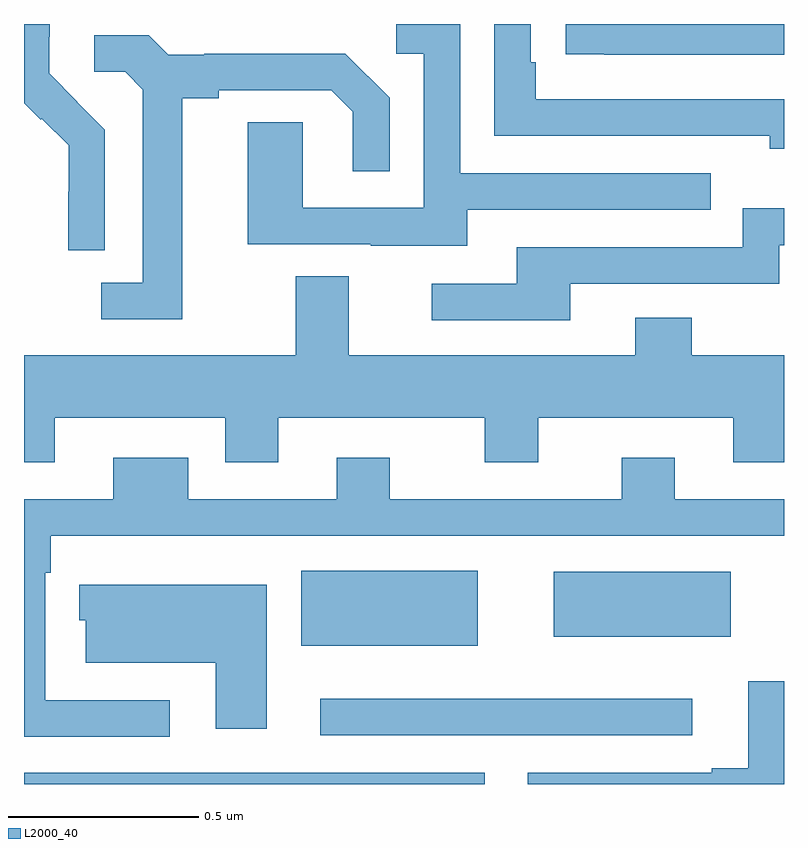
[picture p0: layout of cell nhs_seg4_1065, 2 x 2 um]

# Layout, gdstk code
import gdstk
lib = gdstk.Library(unit=1e-6, precision=1e-09)
def R(c, l, rs):  # rectangles x0, y0, x1, y1
    for r in rs: c.add(gdstk.rectangle(r[:2], r[2:], *l))
def P(c, l, *ps):  # polygons
    for p in ps: c.add(gdstk.Polygon(p, *l))
L2000_40 = (2000, 40)

nhs_seg4_1065 = lib.new_cell('nhs_seg4_1065')
R(nhs_seg4_1065, L2000_40, [(124,751.9,125.212,751.929), (124.779,752.028,125.758,752.125), (124.73,752.264,125.194,752.461), (125.394,752.288,125.86,752.458)])
P(nhs_seg4_1065, L2000_40, [(126,753.702),(125.347,753.702),(125.347,753.799),(125.334,753.799),(125.334,753.9),(125.238,753.9),(125.238,753.606),(125.963,753.606),(125.963,753.572),(126,753.572)],
  [(124.212,753.622),(124.139,753.695),(124.14,753.696),(124.066,753.77),(124.066,753.867),(124.068,753.867),(124.068,753.9),(124,753.9),(124,753.692),(124.044,753.648),(124.047,753.651),(124.118,753.581),(124.118,753.458),(124.116,753.458),(124.116,753.304),(124.212,753.304)],
  [(126,753.9),(125.425,753.9),(125.425,753.82),(125.527,753.82),(125.527,753.819),(126,753.819)],
  [(125.167,753.411),(125.807,753.411),(125.807,753.507),(125.148,753.507),(125.148,753.9),(124.98,753.9),(124.98,753.822),(125.052,753.822),(125.052,753.417),(124.734,753.417),(124.734,753.641),(124.589,753.641),(124.589,753.321),(124.913,753.321),(124.913,753.317),(125.167,753.317)],
  [(124.417,753.704),(124.513,753.704),(124.513,753.726),(124.808,753.726),(124.865,753.669),(124.865,753.513),(124.962,753.513),(124.962,753.706),(124.846,753.822),(124.474,753.822),(124.474,753.819),(124.38,753.819),(124.328,753.871),(124.185,753.871),(124.185,753.774),(124.266,753.774),(124.313,753.727),(124.313,753.219),(124.203,753.219),(124.203,753.123),(124.417,753.123)],
  [(125.437,753.216),(125.988,753.216),(125.988,753.318),(126,753.318),(126,753.415),(125.892,753.415),(125.892,753.312),(125.297,753.312),(125.297,753.216),(125.073,753.216),(125.073,753.12),(125.437,753.12)],
  [(124.081,752.864),(124.529,752.864),(124.529,752.747),(124.669,752.747),(124.669,752.864),(125.213,752.864),(125.213,752.747),(125.353,752.747),(125.353,752.864),(125.867,752.864),(125.867,752.747),(126,752.747),(126,753.028),(125.757,753.028),(125.757,753.127),(125.609,753.127),(125.609,753.028),(124.855,753.028),(124.855,753.236),(124.715,753.236),(124.715,753.028),(124,753.028),(124,752.747),(124.081,752.747)],
  [(124.384,752.121),(124.056,752.121),(124.056,752.456),(124.071,752.456),(124.071,752.553),(126,752.553),(126,752.649),(125.713,752.649),(125.713,752.758),(125.573,752.758),(125.573,752.649),(124.963,752.649),(124.963,752.758),(124.823,752.758),(124.823,752.649),(124.432,752.649),(124.432,752.758),(124.235,752.758),(124.235,752.649),(124,752.649),(124,752.025),(124.384,752.025)],
  [(124.639,752.425),(124.249,752.425),(124.249,752.424),(124.146,752.424),(124.146,752.331),(124.163,752.331),(124.163,752.219),(124.505,752.219),(124.505,752.046),(124.639,752.046)],
  [(126,752.17),(125.906,752.17),(125.906,751.942),(125.81,751.942),(125.81,751.929),(125.325,751.929),(125.325,751.9),(126,751.9)])

lib.write_gds('nhs_seg4_1065.gds')
